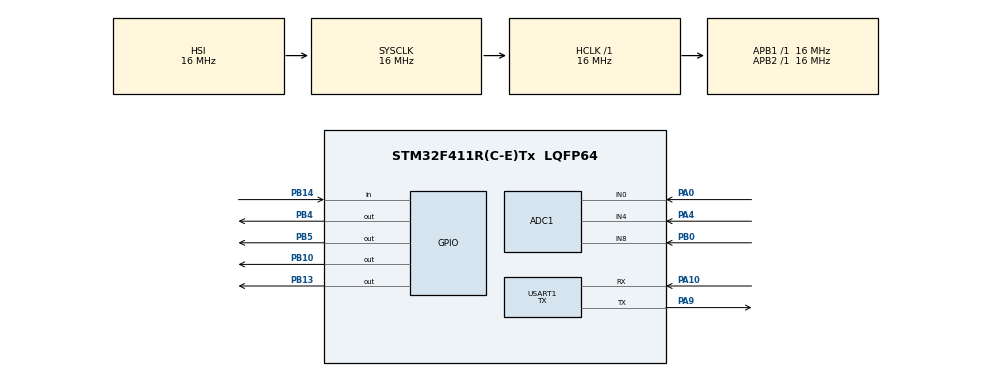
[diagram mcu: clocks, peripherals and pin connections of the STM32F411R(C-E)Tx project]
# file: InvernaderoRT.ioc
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ADC1.Channel-0\#ChannelRegularConversion=ADC_CHANNEL_0
ADC1.Channel-1\#ChannelRegularConversion=ADC_CHANNEL_4
ADC1.Channel-2\#ChannelRegularConversion=ADC_CHANNEL_8
ADC1.ContinuousConvMode=ENABLE
ADC1.NbrOfConversion=3
ADC1.NbrOfConversionFlag=1
ADC1.Rank-0\#ChannelRegularConversion=1
ADC1.Rank-1\#ChannelRegularConversion=2
ADC1.Rank-2\#ChannelRegularConversion=3
ADC1.SamplingTime-0\#ChannelRegularConversion=ADC_SAMPLETIME_144CYCLES
ADC1.SamplingTime-1\#ChannelRegularConversion=ADC_SAMPLETIME_144CYCLES
ADC1.SamplingTime-2\#ChannelRegularConversion=ADC_SAMPLETIME_144CYCLES
ADC1.master=1
FREERTOS.Events01=FlagLectura,Dynamic,NULL;evFlgCalentador,Dynamic,NULL;evFlgRiego,Dynamic,NULL
FREERTOS.Mutexes01=mutexGestor,Dynamic,NULL
FREERTOS.Queues01=colaValues,3,uint32_t,0,Dynamic,NULL,NULL
FREERTOS.Tasks01=defaultTask,24,128,StartDefaultTask,Default,NULL,Dynamic,NULL,NULL;tGestion,24,1280,StartGestion,Default,NULL,Dynamic,NULL,NULL;tLectura,24,1280,StartLectura,Default,NULL,Dynamic,NULL,NULL;tSalidas,25,128,StartSalidas,Default,NULL,Dynamic,NULL,NULL;tMonitorizar,23,128,StartMonitorizar,Default,NULL,Dynamic,NULL,NULL
Mcu.Family=STM32F4
Mcu.Name=STM32F411R(C-E)Tx
Mcu.Package=LQFP64
NVIC.PriorityGroup=NVIC_PRIORITYGROUP_4
PA0-WKUP.Signal=ADCx_IN0
PA10.Mode=Asynchronous
PA10.Signal=USART1_RX
PA4.Signal=ADCx_IN4
PA9.Mode=Asynchronous
PA9.Signal=USART1_TX
PB0.Signal=ADCx_IN8
PB10.Signal=GPIO_Output
PB13.Signal=GPIO_Output
PB14.Signal=GPIO_Input
PB4.Signal=GPIO_Output
PB5.Signal=GPIO_Output
ProjectManager.HeapSize=0x200
ProjectManager.StackSize=0x400
ProjectManager.TargetToolchain=STM32CubeIDE
RCC.AHBFreq_Value=16000000
RCC.APB1Freq_Value=16000000
RCC.APB2Freq_Value=16000000
RCC.CortexFreq_Value=16000000
RCC.HSE_VALUE=25000000
RCC.HSI_VALUE=16000000
RCC.LSE_VALUE=32768
RCC.SYSCLKFreq_VALUE=16000000
RCC.VCOOutputFreq_Value=192000000
SH.ADCx_IN0.0=ADC1_IN0,IN0
SH.ADCx_IN4.0=ADC1_IN4,IN4
SH.ADCx_IN8.0=ADC1_IN8,IN8
USART1.Mode=MODE_TX
USART1.VirtualMode=VM_ASYNC
USART1.WordLength=WORDLENGTH_8B
VP_FREERTOS_VS_CMSIS_V2.Mode=CMSIS_V2
board=custom

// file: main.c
/* USER CODE BEGIN Header */
/**
 ******************************************************************************
 * @file           : main.c
 * @brief          : Main program body
 ******************************************************************************
 * @attention
 *
 * Copyright (c) 2023 STMicroelectronics.
 * All rights reserved.
 *
 * This software is licensed under terms that can be found in the LICENSE file
 * in the root directory of this software component.
 * If no LICENSE file comes with this software, it is provided AS-IS.
 *
 ******************************************************************************
 */
/* USER CODE END Header */
#include "main.h"
#include "cmsis_os.h"

/* USER CODE BEGIN PD */
#define MASK_CALENTADOR_OK 		 0x00000001U
#define MASK_CALENTADOR_FRIO	 0x00000010U
#define MASK_CALENTADOR_CALIENTE 0x00000100U

#define MASK_RIEGO_OK 		 		 0x00000001U
#define MASK_RIEGO_DEPOSITO_VACIO	 0x00000010U
#define MASK_RIEGO_REGANDO 			 0x00000100U

#define AGUA_LIM 1100
#define TEMP_LIM_CALIENTE 1300
#define TEMP_LIM_FRIO 800
#define LUM_LIM 600
/* USER CODE END PD */

ADC_HandleTypeDef hadc1;

UART_HandleTypeDef huart1;

/* Definitions for defaultTask */
osThreadId_t defaultTaskHandle;
const osThreadAttr_t defaultTask_attributes = {
  .name = "defaultTask",
  .stack_size = 128 * 4,
  .priority = (osPriority_t) osPriorityNormal,
};
/* Definitions for tGestion */
osThreadId_t tGestionHandle;
const osThreadAttr_t tGestion_attributes = {
  .name = "tGestion",
  .stack_size = 1280 * 4,
  .priority = (osPriority_t) osPriorityNormal,
};
/* Definitions for tLectura */
osThreadId_t tLecturaHandle;
const osThreadAttr_t tLectura_attributes = {
  .name = "tLectura",
  .stack_size = 1280 * 4,
  .priority = (osPriority_t) osPriorityNormal,
};
/* Definitions for tSalidas */
osThreadId_t tSalidasHandle;
const osThreadAttr_t tSalidas_attributes = {
  .name = "tSalidas",
  .stack_size = 128 * 4,
  .priority = (osPriority_t) osPriorityNormal1,
};
/* Definitions for tMonitorizar */
osThreadId_t tMonitorizarHandle;
const osThreadAttr_t tMonitorizar_attributes = {
  .name = "tMonitorizar",
  .stack_size = 128 * 4,
  .priority = (osPriority_t) osPriorityBelowNormal7,
};
/* Definitions for colaValues */
osMessageQueueId_t colaValuesHandle;
const osMessageQueueAttr_t colaValues_attributes = {
  .name = "colaValues"
};
/* Definitions for mutexGestor */
osMutexId_t mutexGestorHandle;
const osMutexAttr_t mutexGestor_attributes = {
  .name = "mutexGestor"
};
/* Definitions for FlagLectura */
osEventFlagsId_t FlagLecturaHandle;
const osEventFlagsAttr_t FlagLectura_attributes = {
  .name = "FlagLectura"
};
/* Definitions for evFlgCalentador */
osEventFlagsId_t evFlgCalentadorHandle;
const osEventFlagsAttr_t evFlgCalentador_attributes = {
  .name = "evFlgCalentador"
};
/* Definitions for evFlgRiego */
osEventFlagsId_t evFlgRiegoHandle;
const osEventFlagsAttr_t evFlgRiego_attributes = {
  .name = "evFlgRiego"
};

void SystemClock_Config(void);
static void MX_GPIO_Init(void);
static void MX_ADC1_Init(void);
static void MX_USART1_UART_Init(void);
void StartDefaultTask(void *argument);
void StartGestion(void *argument);
void StartLectura(void *argument);
void StartSalidas(void *argument);
void StartMonitorizar(void *argument);

int main(void)
{

  /* MCU Configuration--------------------------------------------------------*/

  /* Reset of all peripherals, Initializes the Flash interface and the Systick. */
  HAL_Init();

  /* USER CODE BEGIN Init */
	tGestionHandle = osThreadNew(StartGestion, NULL, &tGestion_attributes);
	tLecturaHandle = osThreadNew(StartLectura, NULL, &tLectura_attributes);
	tSalidasHandle = osThreadNew(StartSalidas, NULL, &tSalidas_attributes);
	tMonitorizarHandle = osThreadNew(StartMonitorizar, NULL,
			&tMonitorizar_attributes);

  /* USER CODE END Init */

  /* Configure the system clock */
  SystemClock_Config();

  /* USER CODE BEGIN SysInit */
	FlagLecturaHandle = osEventFlagsNew(&FlagLectura_attributes);

	evFlgCalentadorHandle = osEventFlagsNew(&evFlgCalentador_attributes);
	evFlgRiegoHandle = osEventFlagsNew(&evFlgRiego_attributes);

	colaValuesHandle = osMessageQueueNew(1, 16, NULL);
  /* USER CODE END SysInit */

  /* Initialize all configured peripherals */
  MX_GPIO_Init();
  MX_ADC1_Init();
  MX_USART1_UART_Init();

  /* Init scheduler */
  osKernelInitialize();
/* USER CODE BEGIN Header */
/**
 ******************************************************************************
 * @file           : main.c
 * @brief          : Main program body
 ******************************************************************************
 * @attention
 *
 * Copyright (c) 2023 STMicroelectronics.
 * All rights reserved.
 *
 * This software is licensed under terms that can be found in the LICENSE file
 * in the root directory of this software component.
 * If no LICENSE file comes with this software, it is provided AS-IS.
 *
 ******************************************************************************
 */
/* USER CODE END Header */

  /* Start scheduler */
  osKernelStart();

  /* We should never get here as control is now taken by the scheduler */
  /* Infinite loop */
	while (1) {

	}
}

void SystemClock_Config(void)
{
  RCC_OscInitTypeDef RCC_OscInitStruct = {0};
  RCC_ClkInitTypeDef RCC_ClkInitStruct = {0};

  /** Configure the main internal regulator output voltage
  */
  __HAL_RCC_PWR_CLK_ENABLE();
  __HAL_PWR_VOLTAGESCALING_CONFIG(PWR_REGULATOR_VOLTAGE_SCALE1);

  /** Initializes the RCC Oscillators according to the specified parameters
  * in the RCC_OscInitTypeDef structure.
  */
  RCC_OscInitStruct.OscillatorType = RCC_OSCILLATORTYPE_HSI;
  RCC_OscInitStruct.HSIState = RCC_HSI_ON;
  RCC_OscInitStruct.HSICalibrationValue = RCC_HSICALIBRATION_DEFAULT;
  RCC_OscInitStruct.PLL.PLLState = RCC_PLL_NONE;
  if (HAL_RCC_OscConfig(&RCC_OscInitStruct) != HAL_OK)
  {
    Error_Handler();
  }

  /** Initializes the CPU, AHB and APB buses clocks
  */
  RCC_ClkInitStruct.ClockType = RCC_CLOCKTYPE_HCLK|RCC_CLOCKTYPE_SYSCLK
                              |RCC_CLOCKTYPE_PCLK1|RCC_CLOCKTYPE_PCLK2;
  RCC_ClkInitStruct.SYSCLKSource = RCC_SYSCLKSOURCE_HSI;
  RCC_ClkInitStruct.AHBCLKDivider = RCC_SYSCLK_DIV1;
  RCC_ClkInitStruct.APB1CLKDivider = RCC_HCLK_DIV1;
  RCC_ClkInitStruct.APB2CLKDivider = RCC_HCLK_DIV1;

  if (HAL_RCC_ClockConfig(&RCC_ClkInitStruct, FLASH_LATENCY_0) != HAL_OK)
  {
    Error_Handler();
  }
}

static void MX_ADC1_Init(void)
{

  ADC_ChannelConfTypeDef sConfig = {0};

  /** Configure the global features of the ADC (Clock, Resolution, Data Alignment and number of conversion)
  */
  hadc1.Instance = ADC1;
  hadc1.Init.ClockPrescaler = ADC_CLOCK_SYNC_PCLK_DIV2;
  hadc1.Init.Resolution = ADC_RESOLUTION_12B;
  hadc1.Init.ScanConvMode = ENABLE;
  hadc1.Init.ContinuousConvMode = ENABLE;
  hadc1.Init.DiscontinuousConvMode = DISABLE;
  hadc1.Init.ExternalTrigConvEdge = ADC_EXTERNALTRIGCONVEDGE_NONE;
  hadc1.Init.ExternalTrigConv = ADC_SOFTWARE_START;
  hadc1.Init.DataAlign = ADC_DATAALIGN_RIGHT;
  hadc1.Init.NbrOfConversion = 3;
  hadc1.Init.DMAContinuousRequests = DISABLE;
  hadc1.Init.EOCSelection = ADC_EOC_SINGLE_CONV;
  if (HAL_ADC_Init(&hadc1) != HAL_OK)
  {
    Error_Handler();
  }

  /** Configure for the selected ADC regular channel its corresponding rank in the sequencer and its sample time.
  */
  sConfig.Channel = ADC_CHANNEL_0;
  sConfig.Rank = 1;
  sConfig.SamplingTime = ADC_SAMPLETIME_144CYCLES;
  if (HAL_ADC_ConfigChannel(&hadc1, &sConfig) != HAL_OK)
  {
    Error_Handler();
  }

  /** Configure for the selected ADC regular channel its corresponding rank in the sequencer and its sample time.
  */
  sConfig.Channel = ADC_CHANNEL_4;
  sConfig.Rank = 2;
  if (HAL_ADC_ConfigChannel(&hadc1, &sConfig) != HAL_OK)
  {
    Error_Handler();
  }

  /** Configure for the selected ADC regular channel its corresponding rank in the sequencer and its sample time.
  */
  sConfig.Channel = ADC_CHANNEL_8;
  sConfig.Rank = 3;
  if (HAL_ADC_ConfigChannel(&hadc1, &sConfig) != HAL_OK)
  {
    Error_Handler();
  }

}

static void MX_USART1_UART_Init(void)
{

  huart1.Instance = USART1;
  huart1.Init.BaudRate = 115200;
  huart1.Init.WordLength = UART_WORDLENGTH_8B;
  huart1.Init.StopBits = UART_STOPBITS_1;
  huart1.Init.Parity = UART_PARITY_NONE;
  huart1.Init.Mode = UART_MODE_TX;
  huart1.Init.HwFlowCtl = UART_HWCONTROL_NONE;
  huart1.Init.OverSampling = UART_OVERSAMPLING_16;
  if (HAL_UART_Init(&huart1) != HAL_OK)
  {
    Error_Handler();
  }

}

static void MX_GPIO_Init(void)
{
  GPIO_InitTypeDef GPIO_InitStruct = {0};

  /* GPIO Ports Clock Enable */
  __HAL_RCC_GPIOA_CLK_ENABLE();
  __HAL_RCC_GPIOB_CLK_ENABLE();

  /*Configure GPIO pin Output Level */
  HAL_GPIO_WritePin(GPIOB, GPIO_PIN_10|GPIO_PIN_13|GPIO_PIN_4|GPIO_PIN_5, GPIO_PIN_RESET);

  /*Configure GPIO pins : PB10 PB13 PB4 PB5 */
  GPIO_InitStruct.Pin = GPIO_PIN_10|GPIO_PIN_13|GPIO_PIN_4|GPIO_PIN_5;
  GPIO_InitStruct.Mode = GPIO_MODE_OUTPUT_PP;
  GPIO_InitStruct.Pull = GPIO_NOPULL;
  GPIO_InitStruct.Speed = GPIO_SPEED_FREQ_LOW;
  HAL_GPIO_Init(GPIOB, &GPIO_InitStruct);

  /*Configure GPIO pin : PB14 */
  GPIO_InitStruct.Pin = GPIO_PIN_14;
  GPIO_InitStruct.Mode = GPIO_MODE_INPUT;
  GPIO_InitStruct.Pull = GPIO_NOPULL;
  HAL_GPIO_Init(GPIOB, &GPIO_InitStruct);

}

void StartDefaultTask(void *argument)
{
  /* USER CODE BEGIN 5 */
	/* Infinite loop */
	for (;;) {
		osDelay(1000);
	}
  /* USER CODE END 5 */
}

void StartGestion(void *argument)
{
  /* USER CODE BEGIN StartGestion */
	uint32_t agua = 0, temp = 0, luz = 0;
	uint32_t valuesGestion[3];
	/* Infinite loop */
	for (;;) {
		osMutexAcquire(mutexGestorHandle, osWaitForever);
		osEventFlagsWait(FlagLecturaHandle, 0x00000001U, osFlagsWaitAny,
		osWaitForever);
		osMessageQueueGet(colaValuesHandle, valuesGestion, 4, 0);
		agua = valuesGestion[0], temp = valuesGestion[1], luz = valuesGestion[2];

		//riego
		if (luz <= LUM_LIM && agua > AGUA_LIM)
			osEventFlagsSet(evFlgRiegoHandle, MASK_RIEGO_REGANDO);
		else if (agua <= AGUA_LIM)
			osEventFlagsSet(evFlgRiegoHandle, MASK_RIEGO_DEPOSITO_VACIO);
		else
			osEventFlagsSet(evFlgRiegoHandle, MASK_RIEGO_OK);

		//calentador
		if (temp <= TEMP_LIM_FRIO)
			osEventFlagsSet(evFlgCalentadorHandle, MASK_CALENTADOR_FRIO);
		else if (temp > TEMP_LIM_CALIENTE)
			osEventFlagsSet(evFlgCalentadorHandle, MASK_CALENTADOR_CALIENTE);
		else
			osEventFlagsSet(evFlgCalentadorHandle, MASK_CALENTADOR_OK);

		osEventFlagsClear(FlagLecturaHandle, 0x00000001U);
		osMutexRelease(mutexGestorHandle);
		osDelay(200);
	}
  /* USER CODE END StartGestion */
}

void StartLectura(void *argument)
{
  /* USER CODE BEGIN StartLectura */
	int32_t agua = 0, luz = 0, temp = 0;
	int32_t values[3];
	/* Infinite loop */
	for (;;) {
		osMutexAcquire(mutexGestorHandle, 0);
		osMutexRelease(mutexGestorHandle);
		HAL_ADC_Start(&hadc1);
		if (HAL_ADC_PollForConversion(&hadc1, 1) == HAL_OK) {
			//lectura canal 0
			agua = HAL_ADC_GetValue(&hadc1);
		}
		//lectura canal 2
		if (HAL_ADC_PollForConversion(&hadc1, 1) == HAL_OK) {
			luz = HAL_ADC_GetValue(&hadc1);
		}
		if (HAL_ADC_PollForConversion(&hadc1, 1) == HAL_OK) {
			//lectura canal 3
			temp = HAL_ADC_GetValue(&hadc1);
		}
		HAL_ADC_Stop(&hadc1);
		values[0] = agua, values[1] = temp, values[2] = luz;
		osMessageQueuePut(colaValuesHandle, values, 4, 0);
		osEventFlagsSet(FlagLecturaHandle, 0x00000001U);
		osDelay(90);
	}
  /* USER CODE END StartLectura */
}

void StartSalidas(void *argument)
{
  /* USER CODE BEGIN StartSalidas */
	uint32_t e_calentador = 0, e_riego = 0;
	/* Infinite loop */
	for (;;) {
		osMutexAcquire(mutexGestorHandle, 0);
		osMutexRelease(mutexGestorHandle);

		e_calentador = osEventFlagsGet(evFlgCalentadorHandle);
		e_riego = osEventFlagsGet(evFlgRiegoHandle);

		switch (e_calentador) {
		case MASK_CALENTADOR_CALIENTE:
			HAL_GPIO_WritePin(GPIOB, GPIO_PIN_4, 1);
			HAL_GPIO_WritePin(GPIOB, GPIO_PIN_5, 0);
			osEventFlagsClear(evFlgCalentadorHandle, MASK_CALENTADOR_CALIENTE);
			break;
		case MASK_CALENTADOR_FRIO:
			HAL_GPIO_WritePin(GPIOB, GPIO_PIN_4, 0);
			HAL_GPIO_WritePin(GPIOB, GPIO_PIN_5, 1);
			osEventFlagsClear(evFlgCalentadorHandle, MASK_CALENTADOR_FRIO);
			break;
		default:
			HAL_GPIO_WritePin(GPIOB, GPIO_PIN_5, 0);
			HAL_GPIO_WritePin(GPIOB, GPIO_PIN_4, 0);
			osEventFlagsClear(evFlgCalentadorHandle, MASK_CALENTADOR_OK);
			break;
		}

		switch (e_riego) {
		case MASK_RIEGO_DEPOSITO_VACIO:
			HAL_GPIO_WritePin(GPIOB, GPIO_PIN_13, 1);
			HAL_GPIO_WritePin(GPIOB, GPIO_PIN_10, 0);
			osEventFlagsClear(evFlgRiegoHandle, MASK_RIEGO_DEPOSITO_VACIO);
			break;
		case MASK_RIEGO_REGANDO:
			HAL_GPIO_WritePin(GPIOB, GPIO_PIN_13, 0);
			HAL_GPIO_WritePin(GPIOB, GPIO_PIN_10, 1);
			osEventFlagsClear(evFlgRiegoHandle, MASK_RIEGO_REGANDO);
			break;
		default:
			HAL_GPIO_WritePin(GPIOB, GPIO_PIN_13, 0);
			HAL_GPIO_WritePin(GPIOB, GPIO_PIN_10, 0);
			osEventFlagsClear(evFlgRiegoHandle, MASK_RIEGO_OK);
			break;
		}
		osDelay(100);
	}
  /* USER CODE END StartSalidas */
}

void StartMonitorizar(void *argument)
{
  /* USER CODE BEGIN StartMonitorizar */
	uint32_t valuesGestion[3];
	/* Infinite loop */
	for (;;) {
		osMutexAcquire(mutexGestorHandle, 0);
		osMutexRelease(mutexGestorHandle);
		osMessageQueueGet(colaValuesHandle, valuesGestion, 4, 0);

		HAL_UART_Transmit(&huart1, valuesGestion, sizeof(valuesGestion), 80);
		osDelay(100);
	}
  /* USER CODE END StartMonitorizar */
}

void Error_Handler(void)
{
	__disable_irq();
	while (1) {
	}
}
